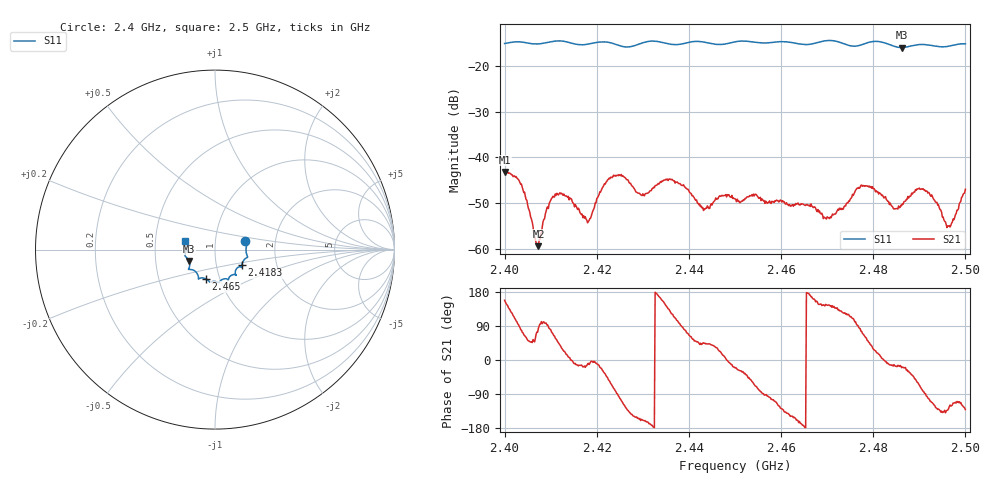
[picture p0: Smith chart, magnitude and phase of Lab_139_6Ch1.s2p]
# Hz S RI R 50
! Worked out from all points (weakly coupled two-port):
!   601 points, 2.4 GHz to 2.5 GHz, reference 50 ohm
!   highest |S21| = -43.20 dB at 2.4 GHz (marker M1); lowest = -59.4 dB at 2.4073 GHz (marker M2)
!   lowest |S11| = -16.0 dB at 2.4862 GHz (marker M3), VSWR 1.38, Z = 37.1 - j4.8 ohm
!   |S11| at or under -10 dB: start of sweep to end of sweep
!   S12 and S22 are empty: the file has one direction only
!   S11 on the Smith chart (normalised r, x): 2.4 GHz: 1.40, +0.13; 2.4183 GHz: 1.33, -0.24; 2.465 GHz: 0.86, -0.29; 2.5 GHz: 0.71, +0.07
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2.4e9  0.1688 0.0455  -0.0064 0.00264  0 0  0 0
2.403333e9  0.1794 0.031  0.000409 0.00529  0 0  0 0
2.407333e9  0.173 -0.00743  0.000125 0.00106  0 0  0 0
2.410833e9  0.1812 -0.0386  0.00165 0.0033  0 0  0 0
2.414e9  0.1727 -0.0476  0.00341 0.000408  0 0  0 0
2.416667e9  0.1549 -0.0685  0.00231 -0.000543  0 0  0 0
2.418333e9  0.1498 -0.0869  0.002 -0.000422  0 0  0 0
2.4235e9  0.146 -0.0969  0.002 -0.00582  0 0  0 0
2.429833e9  0.1135 -0.1356  -0.00353 -0.00147  0 0  0 0
2.433333e9  0.1167 -0.1414  -0.00511 0.000887  0 0  0 0
2.4385e9  0.0796 -0.1534  0.000205 0.00493  0 0  0 0
2.443333e9  0.0707 -0.1662  0.00198 0.00189  0 0  0 0
2.45e9  0.0251 -0.1806  0.0033 -0.00125  0 0  0 0
2.465e9  -0.0528 -0.1622  -0.00301 -0.000265  0 0  0 0
2.466667e9  -0.0714 -0.1575  -0.00286 0.000677  0 0  0 0
2.470333e9  -0.0922 -0.1645  -0.0018 0.00125  0 0  0 0
2.477833e9  -0.131 -0.1114  0.00183 0.00457  0 0  0 0
2.483333e9  -0.1423 -0.0959  0.00324 -0.000596  0 0  0 0
2.486167e9  -0.1449 -0.0631  0.00278 -0.00104  0 0  0 0
2.491167e9  -0.1671 -0.0323  0.000101 -0.00441  0 0  0 0
2.496333e9  -0.162 0.0204  -0.00112 -0.00138  0 0  0 0
2.5e9  -0.1669 0.0475  -0.00294 -0.00338  0 0  0 0
